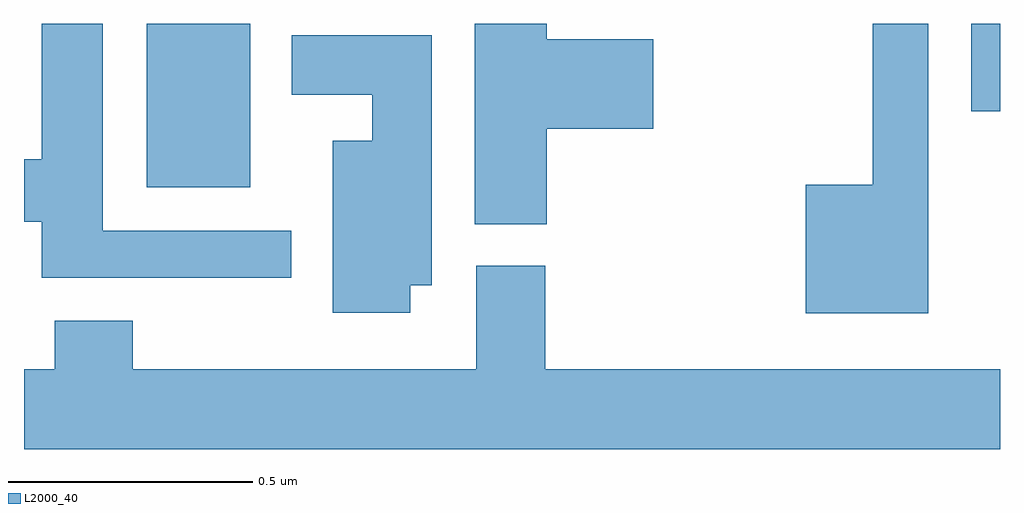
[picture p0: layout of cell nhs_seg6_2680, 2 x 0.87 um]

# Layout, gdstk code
import gdstk
lib = gdstk.Library(unit=1e-6, precision=1e-09)
def R(c, l, rs):  # rectangles x0, y0, x1, y1
    for r in rs: c.add(gdstk.rectangle(r[:2], r[2:], *l))
def P(c, l, *ps):  # polygons
    for p in ps: c.add(gdstk.Polygon(p, *l))
L2000_40 = (2000, 40)

nhs_seg6_2680 = lib.new_cell('nhs_seg6_2680')
R(nhs_seg6_2680, L2000_40, [(146.252,989.165,146.464,989.5), (147.941,989.321,148,989.5)])
P(nhs_seg6_2680, L2000_40, [(146.548,989.076),(146.161,989.076),(146.161,989.5),(146.036,989.5),(146.036,989.222),(146,989.222),(146,989.094),(146.036,989.094),(146.036,988.979),(146.548,988.979)],
  [(147.853,989.5),(147.739,989.5),(147.739,989.17),(147.602,989.17),(147.602,988.907),(147.853,988.907)],
  [(147.071,989.285),(147.289,989.285),(147.289,989.468),(147.071,989.468),(147.071,989.5),(146.924,989.5),(146.924,989.089),(147.071,989.089)],
  [(146.791,988.964),(146.836,988.964),(146.836,989.476),(146.549,989.476),(146.549,989.354),(146.714,989.354),(146.714,989.26),(146.633,989.26),(146.633,988.908),(146.791,988.908)],
  [(148,988.792),(147.068,988.792),(147.068,989.004),(146.927,989.004),(146.927,988.792),(146.223,988.792),(146.223,988.891),(146.063,988.891),(146.063,988.792),(146,988.792),(146,988.628),(148,988.628)])

lib.write_gds('nhs_seg6_2680.gds')
